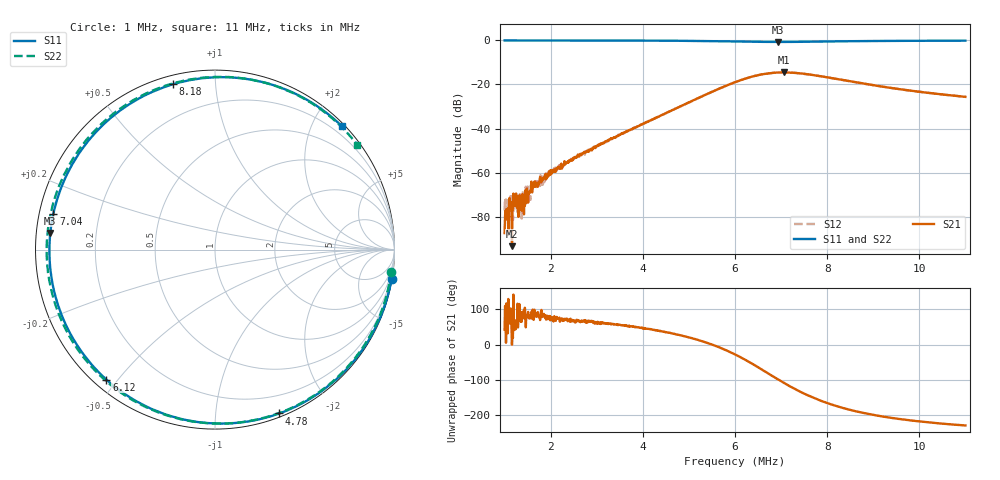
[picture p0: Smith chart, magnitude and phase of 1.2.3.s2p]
# MHz S DB R 50
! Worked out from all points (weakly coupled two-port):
!   1001 points, 1 MHz to 11 MHz, reference 50 ohm
!   highest |S21| = -14.52 dB at 7.07 MHz (marker M1); lowest = -93.4 dB at 1.16 MHz (marker M2)
!   lowest |S11| = -0.7 dB at 6.94 MHz (marker M3), VSWR 24.66, Z = 2.03 + j2.49 ohm
!   |S11| at or under -10 dB: nowhere
!   |S22| runs from -0.6 to -0.1 dB; largest |S21 - S12| = 0.0019
!   S11 on the Smith chart (normalised r, x): 1 MHz: 0, -12; 4.78 MHz: 0.03, -1.47; 6.12 MHz: 0.04, -0.47; 7.04 MHz: 0.04, +0.11; 8.18 MHz: 0.04, +0.78; 11 MHz: 0.05, +2.45
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1  -0.02 -9.5  -87.45 42.5  -77.15 -15.8  -0.10 -7.2
1.16  -0.03 -11.0  -93.39 -0.3  -70.84 92.2  -0.10 -8.3
1.24  -0.03 -11.8  -72.50 43.4  -73.25 80.7  -0.10 -8.8
1.33  -0.03 -12.6  -70.24 72.0  -69.77 70.8  -0.10 -9.5
1.45  -0.03 -13.8  -68.01 82.6  -68.73 62.3  -0.10 -10.4
1.56  -0.03 -14.9  -68.86 75.5  -72.29 100.8  -0.10 -11.2
1.74  -0.04 -16.7  -65.32 77.3  -65.59 81.8  -0.10 -12.5
2.67  -0.06 -27.2  -52.04 68.0  -51.67 70.7  -0.10 -20.7
4.34  -0.12 -56.4  -34.61 39.0  -34.58 38.6  -0.13 -44.1
4.78  -0.17 -68.6  -30.27 27.6  -30.32 27.1  -0.15 -54.8
5.41  -0.29 -92.0  -24.18 4.1  -24.21 3.7  -0.22 -77.2
6  -0.46 -122.5  -18.98 -27.7  -18.98 -28.2  -0.36 -110.9
6.12  -0.50 -129.9  -18.07 -35.7  -18.08 -36.2  -0.40 -119.7
6.57  -0.65 -159.9  -15.47 -69.4  -15.47 -69.9  -0.52 -158.3
6.94  -0.70 174.3  -14.57 -98.8  -14.58 -99.3  -0.56 167.3
7.04  -0.70 167.4  -14.52 -106.5  -14.54 -107.0  -0.55 158.4
7.07  -0.70 165.4  -14.52 -108.8  -14.54 -109.3  -0.55 155.8
7.36  -0.65 146.6  -14.85 -129.4  -14.85 -130.0  -0.50 132.4
7.67  -0.58 128.6  -15.63 -148.4  -15.64 -149.0  -0.43 111.8
8.18  -0.44 104.4  -17.39 -172.7  -17.41 -173.3  -0.32 86.9
9.34  -0.24 69.4  -21.42 154.3  -21.43 153.7  -0.19 55.9
11  -0.12 44.3  -25.62 131.8  -25.62 131.3  -0.14 36.3
